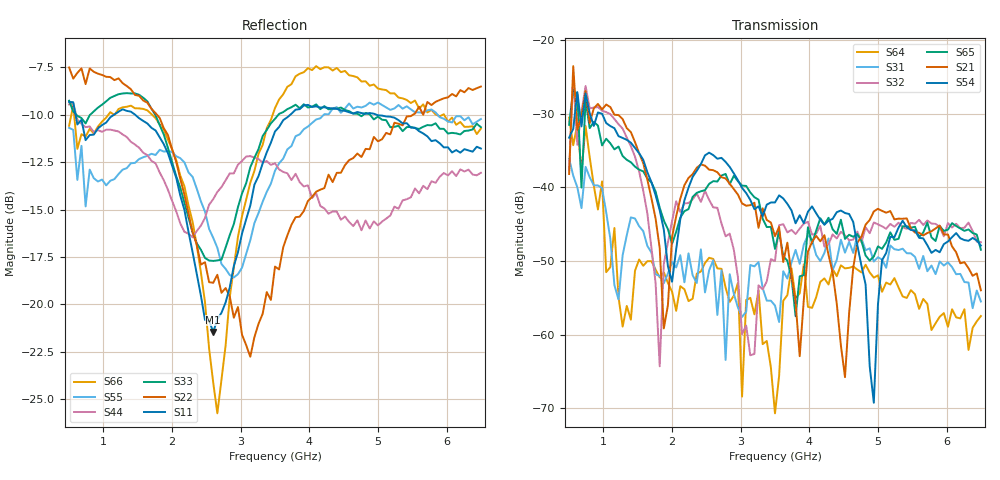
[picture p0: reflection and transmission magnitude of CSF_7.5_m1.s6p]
!Keysight Technologies,M9804A,MY58100912,A.14.10.03
!Date: Thursday, April 27, 2023 10:28:33
!Correction: S11(C  6-Port  )
!S12(C  6-Port  )
!S13(C  6-Port  )
!S14(C  6-Port  )
!S15(C  6-Port  )
!S16(C  6-Port  )
!S21(C  6-Port  )
!S22(C  6-Port  )
!S23(C  6-Port  )
!S24(C  6-Port  )
!S25(C  6-Port  )
!S26(C  6-Port  )
!S31(C  6-Port  )
!S32(C  6-Port  )
!S33(C  6-Port  )
!S34(C  6-Port  )
!S35(C  6-Port  )
!S36(C  6-Port  )
!S41(C  6-Port  )
!S42(C  6-Port  )
!S43(C  6-Port  )
!S44(C  6-Port  )
!S45(C  6-Port  )
!S46(C  6-Port  )
!S51(C  6-Port  )
!S52(C  6-Port  )
!S53(C  6-Port  )
!S54(C  6-Port  )
!S55(C  6-Port  )
!S56(C  6-Port  )
!S61(C  6-Port  )
!S62(C  6-Port  )
!S63(C  6-Port  )
!S64(C  6-Port  )
!S65(C  6-Port  )
!S66(C  6-Port  )
!S6P File: Measurement: :
# Hz S  RI  R 50
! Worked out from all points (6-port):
!   101 points, 500 MHz to 6.5 GHz, reference 50 ohm
!   strongest paths, dB at 500 MHz, 2 GHz, 3.5 GHz, 5 GHz, 6.5 GHz:
!     S54: -33.2, -52.8, -42.0, -55.9, -47.9
!     S21: -38.2, -46.7, -46.6, -42.9, -54.0
!     S65: -31.5, -47.6, -48.3, -48.0, -48.5
!     S32: -37.7, -44.6, -50.0, -45.0, -47.4
!     S31: -36.1, -50.1, -56.0, -49.5, -55.5
!     S64: -30.5, -54.1, -70.7, -51.9, -57.5
!   lowest |S11| = -21.5 dB at 2.6 GHz (marker M1), VSWR 1.18, Z = 42.5 + j2.3 ohm
!   |S11| at or under -10 dB: 594.1 MHz to 1.152 GHz (557.8 MHz wide, 63.9 % of centre); 1.464 GHz to 3.721 GHz (2.257 GHz wide, 87.1 % of centre); 4.983 GHz to end of sweep
